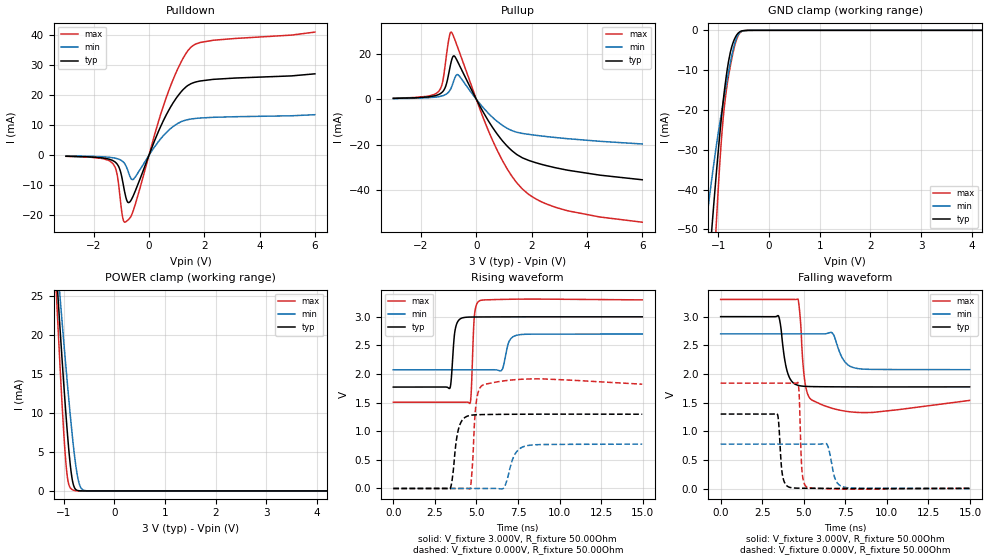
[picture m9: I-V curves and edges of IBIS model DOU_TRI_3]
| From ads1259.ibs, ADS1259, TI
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|   3-state Output DOU_TRI model 3V
[Model]   DOU_TRI_3
Model_type   I/O
|Signals   DOUT
| variable   typ   min   max
|C_comp Output average
C_comp   4.35E-12   5.36E-12   3.37E-12
|C_comp Output Low
|C_comp   4.72E-12   5.74E-12   3.71E-12
|C_comp Output High
|C_comp   4.84E-12   5.85E-12   4.08E-12
Vinl = 600.000mV
Vinh = 2.400V
Vmeas = 1.500V
Cref = 0.000F
|   typ   min   max
[Voltage Range]   3.000V   2.700V   3.300V
[Temperature Range]   27.0   105.0   -40.0
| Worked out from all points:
|   slope of the pulldown table from 0 to 0.45 V, typ, clamps not added: 44.5 ohm
|   slope of the pullup table from 0 to 0.45 V, typ, clamps not added: 45.9 ohm
|   GND clamp passes 1 mA (typ) near -0.63 V on its own axis
|   POWER clamp passes 1 mA (typ) near -0.82 V on its own axis
|   falling waveform, V_fixture 3.000V, R_fixture 50.00Ohm: 20-80 % time 385ps typ, 577ps min, 260ps max; typ from 3 V to 1.77 V
|   rising waveform, V_fixture 3.000V, R_fixture 50.00Ohm: 20-80 % time 195ps typ, 305ps min, 142ps max; typ from 1.77 V to 3 V
|   rising waveform, V_fixture 0.000V, R_fixture 50.00Ohm: 20-80 % time 335ps typ, 516ps min, 222ps max; typ from 0 V to 1.3 V
|   falling waveform, V_fixture 0.000V, R_fixture 50.00Ohm: 20-80 % time 189ps typ, 349ps min, 130ps max; typ from 1.3 V to 0.002 V
[Pulldown]
|   Voltage   I(typ)   I(min)   I(max)
-3V       -315.2uA   -207.5uA   -347.1uA
-1.31V    -1.738mA   -815.1uA   -2.694mA
-1.157V   -2.844mA   -1.103mA   -6.085mA
-1.052V   -4.748mA   -1.448mA   -13.42mA
-943.6mV  -9.03mA    -2.093mA   -20.98mA
-840.4mV  -13.79mA   -3.37mA    -22.14mA
-736.7mV  -15.75mA   -5.786mA   -21.36mA
-577.2mV  -13.66mA   -8.066mA   -18.69mA
620.2mV   13.34mA    7.498mA    19.06mA
1.032V    19.6mA     10.54mA    28.57mA
1.504V    23.74mA    12.03mA    35.83mA
5.998V    27.09mA    13.5mA     40.97mA
[GND Clamp]
|   Voltage   I(typ)   I(min)   I(max)
-3V       -419.7mA   -281.7mA   -598.2mA
-1.259V   -71.96mA   -50.48mA   -104.7mA
-1.133V   -50.57mA   -37.66mA   -71.43mA
-1.115V   -47.61mA   -35.9mA    -66.79mA
-1.049V   -37.36mA   -29.85mA   -50.67mA
-1.034V   -35.04mA   -28.49mA   -47.04mA
-927.8mV  -20.49mA   -19.88mA   -25.55mA
-844.6mV  -11.6mA    -13.68mA   -15.3mA
-718.9mV  -3.442mA   -5.434mA   -6.123mA
-635.3mV  -1.114mA   -1.778mA   -2.113mA
-550.2mV  -206.6uA   -320.3uA   -344.3uA
5.998V    0A         0A         0A
[Pullup]
|   Voltage   I(typ)   I(min)   I(max)
-3V       393.2uA    288.1uA    464.4uA
-1.358V   2.115mA    1.163mA    3.52mA
-1.227V   3.2mA      1.526mA    7.114mA
-1.11V    5.617mA    2.1mA      16.49mA
-977.3mV  12.52mA    3.517mA    27.59mA
-912.1mV  16.3mA     4.906mA    29.63mA
-810.9mV  19.16mA    8.262mA    27.37mA
-646.9mV  15.9mA     10.71mA    22mA
656.1mV   -13.65mA   -8.741mA   -19.95mA
1.653V    -25.74mA   -15.04mA   -39.41mA
3.216V    -31.08mA   -17.3mA    -48.91mA
5.998V    -35.51mA   -19.72mA   -54.22mA
[POWER Clamp]
|   Voltage   I(typ)   I(min)   I(max)
-3V       233.1mA    189.9mA    294.9mA
-1.144V   28.16mA    30.7mA     25.33mA
-1.11V    24.71mA    27.98mA    20.89mA
-1.079V   21.54mA    25.46mA    16.86mA
-1.004V   14.29mA    19.62mA    8.092mA
-954.8mV  9.794mA    15.85mA    3.509mA
-901.2mV  5.451mA    11.92mA    891.4uA
-815.4mV  975.8uA    6.217mA    119.1uA
-757.2mV  160.7uA    3.086mA    29.76uA
-696.4mV  22.91uA    994.1uA    5.576uA
-550.2mV  276.5nA    16.64uA    17.89nA
5.998V    0A         0A         0A
[Ramp]
R_load = 50.00Ohm
|   typ   min   max
dV/dt_r   778.566mV/333.635ps 464.834mV/513.990ps   1.093V/220.861ps
dV/dt_f   735.483mV/382.717ps 375.051mV/575.787ps   1.057V/259.116ps
[Falling Waveform]
V_fixture = 3.000V
V_fixture_min = 2.700V
V_fixture_max = 3.300V
R_fixture = 50.00Ohm
|   Time   V(typ)   V(min)   V(max)
0s        3V         2.7V       3.3V
3.467ns   3.017V     2.7V       3.3V
4ns       2.047V     2.7V       3.3V
4.648ns   1.802V     2.7V       3.306V
4.98ns    1.786V     2.7V       2.082V
5.144ns   1.783V     2.7V       1.74V
6.053ns   1.777V     2.7V       1.467V
6.736ns   1.776V     2.708V     1.399V
8.04ns    1.774V     2.106V     1.333V
14.97ns   1.774V     2.075V     1.538V
[Rising Waveform]
V_fixture = 3.000V
V_fixture_min = 2.700V
V_fixture_max = 3.300V
R_fixture = 50.00Ohm
|   Time   V(typ)   V(min)   V(max)
0s        1.772V     2.074V     1.507V
3.391ns   1.748V     2.074V     1.507V
3.793ns   2.861V     2.074V     1.507V
4.614ns   2.995V     2.074V     1.486V
4.691ns   2.996V     2.074V     1.704V
4.878ns   2.996V     2.074V     3.016V
5.207ns   2.997V     2.074V     3.283V
6.505ns   2.998V     2.062V     3.304V
7.47ns    2.999V     2.681V     3.308V
14.97ns   2.999V     2.7V       3.296V
[Rising Waveform]
V_fixture = 0.000V
V_fixture_min = 0.000V
V_fixture_max = 0.000V
R_fixture = 50.00Ohm
|   Time   V(typ)   V(min)   V(max)
0s        5.734nV    5.739nV    5.551nV
3.407ns   -5.955mV   -4.909uV   -28.18uV
3.91ns    1.026V     -8.773uV   -457.2nV
4.608ns   1.276V     -6.393uV   -9.646mV
4.986ns   1.288V     1.331uV    1.498V
5.422ns   1.292V     -3.657uV   1.813V
6.63ns    1.296V     6.362mV    1.88V
7.29ns    1.297V     584.1mV    1.9V
7.874ns   1.298V     735.2mV    1.911V
14.97ns   1.298V     774.7mV    1.822V
[Falling Waveform]
V_fixture = 0.000V
V_fixture_min = 0.000V
V_fixture_max = 0.000V
R_fixture = 50.00Ohm
|   Time   V(typ)   V(min)   V(max)
0s        1.3V       776.4mV    1.839V
3.394ns   1.308V     776.4mV    1.839V
3.789ns   147.4mV    776.4mV    1.839V
4.65ns    7.073mV    776.4mV    1.852V
4.727ns   6.651mV    776.4mV    1.614V
4.893ns   5.998mV    776.4mV    304.6mV
5.22ns    5.143mV    776.4mV    20.75mV
6.38ns    3.229mV    776.9mV    -1.663mV
7.4ns     2.191mV    26.4mV     -7.883mV
14.97ns   1.838mV    1.1mV      7.122mV
